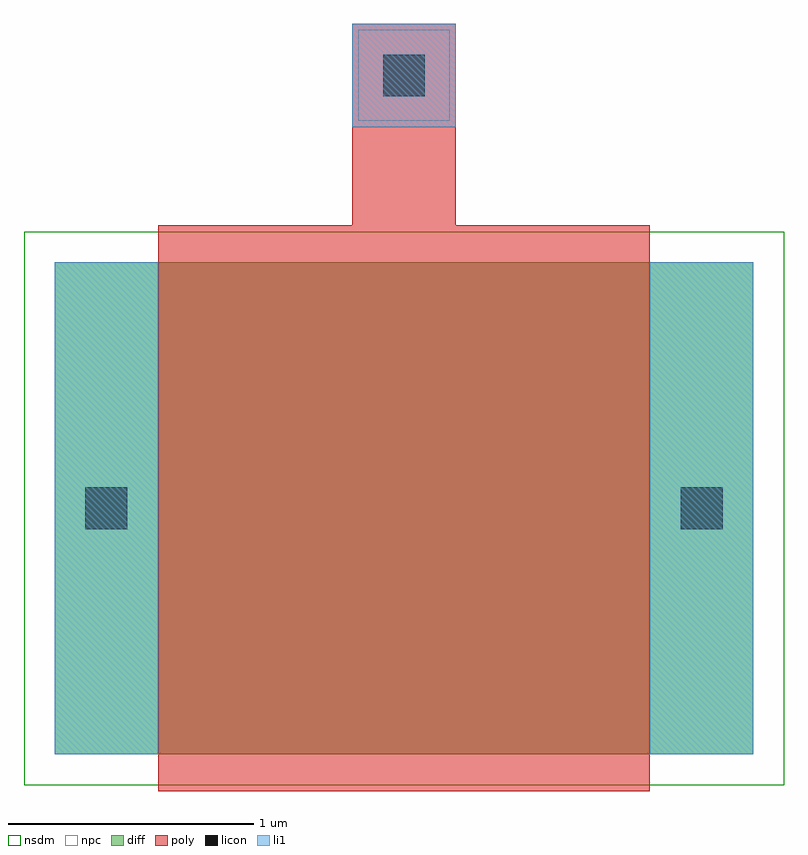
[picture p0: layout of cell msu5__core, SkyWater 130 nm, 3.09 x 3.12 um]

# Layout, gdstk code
import gdstk
lib = gdstk.Library(unit=1e-6, precision=1e-09)
def R(c, l, rs):  # rectangles x0, y0, x1, y1
    for r in rs: c.add(gdstk.rectangle(r[:2], r[2:], *l))
diff = (65, 20)
poly = (66, 20)
licon = (66, 44)
li1 = (67, 20)
nsdm = (93, 44)
npc = (95, 20)

msu5__core = lib.new_cell('msu5__core')
R(msu5__core, diff, [(0,0,2.84,2)])
R(msu5__core, poly, [(0.42,-0.15,2.42,2), (0.42,2,2.42,2.15), (0.42,2,2.42,2.15), (1.21,2.15,1.63,2.97)])
R(msu5__core, licon, [(0.125,0.915,0.295,1.085), (2.545,0.915,2.715,1.085), (1.335,2.675,1.505,2.845)])
R(msu5__core, li1, [(0,0,0.42,2), (2.42,0,2.84,2), (1.21,2.55,1.63,2.97)])
R(msu5__core, nsdm, [(-0.125,-0.125,2.965,2.125)])
R(msu5__core, npc, [(1.235,2.575,1.605,2.945)])

lib.write_gds('msu5__core.gds')
